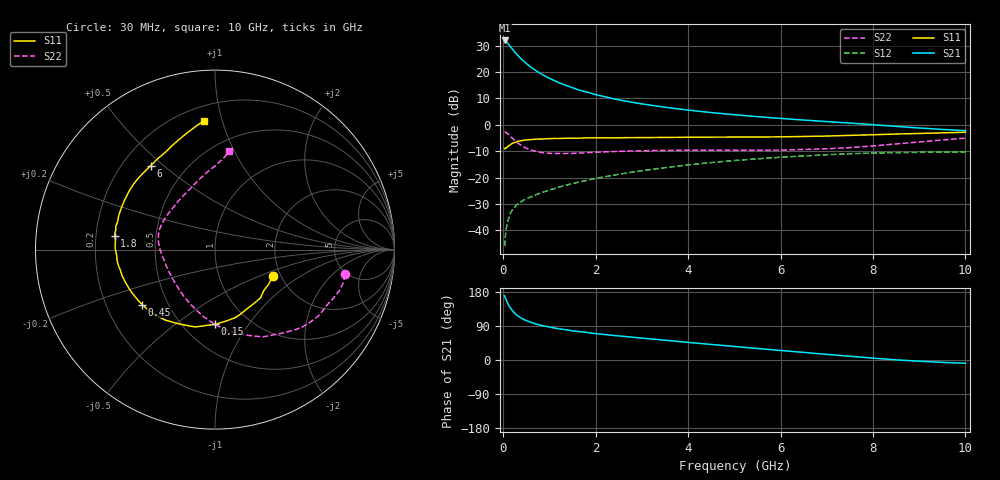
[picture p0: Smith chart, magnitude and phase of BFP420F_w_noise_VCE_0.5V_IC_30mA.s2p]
! Infineon Technologies  Discrete & RF Semiconductors
! BFP420F
! VCE =  0.5 V,  IC =  30 mA
! Common Emitter S-Parameters:  Sep 2011
# GHz  S  MA  R  50
!  f  S11  S21  S12  S22
! GHz  MAG  ANG  MAG  ANG  MAG  ANG  MAG  ANG
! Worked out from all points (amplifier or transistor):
!   54 points, 30 MHz to 10 GHz, reference 50 ohm
!   highest |S21| = 31.9 dB at 30 MHz (marker M1)
!   |S21| within 3 dB of that: start of sweep to 186.4 MHz
!   unconditionally stable (mu >= 1): start of sweep to 30.47 MHz; 1.093 GHz to end of sweep
!   at 120 MHz: K = 0.48, MSG = 32.9 dB, |S12| = -35.3 dB
!   at 1.3 GHz: K = 1.06, MAG = 17.8 dB, |S12| = -23.2 dB
!   at 10 GHz: K = 1.22, MAG = 1.2 dB, |S12| = -10.3 dB
!   lowest NFmin = 1.81 dB at 450 MHz
!   S11 on the Smith chart (normalised r, x): 30 MHz: 1.81, -0.61; 150 MHz: 0.71, -0.71; 450 MHz: 0.36, -0.30; 1.8 GHz: 0.28, +0.06; 6 GHz: 0.32, +0.45; 10 GHz: 0.29, +0.88
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0.03  0.3535 -24.7  39.51 169.6  0.005 85.0  0.7395 -10.8
0.04  0.3557 -32.8  38.99 166.1  0.0065 83.2  0.7384 -14.6
0.07  0.3701 -52.7  37.28 157.2  0.0112 76.4  0.6971 -26.1
0.1  0.3884 -69.3  34.91 148.9  0.0149 72.1  0.6741 -35.4
0.12  0.4003 -79.0  33.05 144.0  0.0171 69.1  0.651 -41.4
0.15  0.4165 -89.9  30.58 138.2  0.0205 65.4  0.6037 -50.1
0.2  0.4452 -104.5  27.05 130.0  0.0245 61.5  0.5542 -61.4
0.25  0.4603 -116.0  23.86 123.4  0.0276 58.8  0.5035 -70.8
0.3  0.48 -124.9  21.38 118.0  0.0308 56.3  0.461 -80.0
0.35  0.4928 -132.2  19.13 113.7  0.0331 55.1  0.4288 -87.1
0.45  0.5088 -142.9  15.8 106.8  0.0376 53.5  0.3778 -100.0
0.6  0.5239 -154.1  12.29 99.4  0.0431 53.5  0.331 -115.3
0.9  0.5396 -167.7  8.386 89.4  0.0542 54.4  0.2917 -137.8
1.2  0.5485 -176.4  6.284 82.4  0.0653 55.3  0.2848 -153.3
1.7  0.5584 173.9  4.399 74.2  0.0842 55.7  0.2907 -170.2
1.8  0.5639 172.4  4.168 72.9  0.0881 55.7  0.2948 -172.4
3.5  0.5743 151.4  2.144 52.2  0.154 48.8  0.3256 165.4
5.5  0.5853 132.4  1.421 30.3  0.2262 34.4  0.3289 141.8
6  0.5893 127.4  1.318 25.2  0.2419 30.6  0.3307 134.3
7  0.61 116.6  1.146 14.8  0.2697 22.5  0.3509 118.9
8.5  0.6656 104.0  0.93 0.4  0.2955 10.1  0.4325 96.0
10  0.7214 94.7  0.771 -8.6  0.3054 1.9  0.5568 81.7
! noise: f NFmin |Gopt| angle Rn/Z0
0.45  1.81  0.29  -175  0.14
0.9  1.82  0.3  -173  0.14
1.9  1.95  0.35  -164  0.14
2.4  2.01  0.35  -158  0.12
3.5  2.25  0.35  -146  0.18
